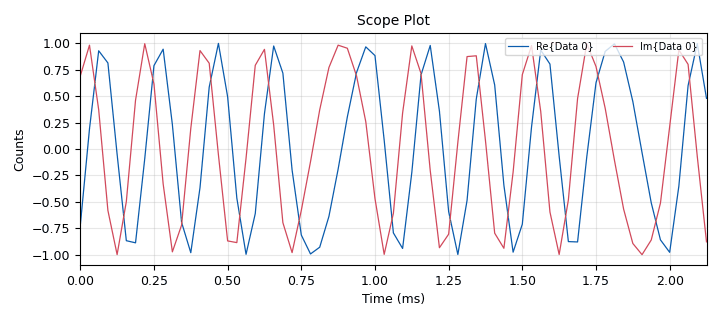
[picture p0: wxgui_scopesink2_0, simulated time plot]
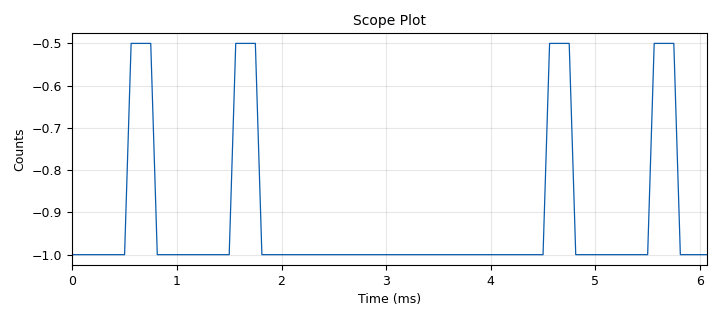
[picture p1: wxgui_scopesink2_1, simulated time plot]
<?xml version='1.0' encoding='utf-8'?>
<?grc format='1' created='3.7.11'?>
<flow_graph>
<block>
<key>options</key>
<param><key>id</key><value>top_block</value></param>
<param><key>generate_options</key><value>wx_gui</value></param>
</block>
<block>
<key>variable_constellation_rect</key>
<param><key>id</key><value>qpsk_const</value></param>
<param><key>const_points</key><value>[-1-1j, -1+1j, 1+1j, 1-1j]</value></param>
<param><key>imag_sect</key><value>2</value></param>
<param><key>real_sect</key><value>2</value></param>
<param><key>rot_sym</key><value>4</value></param>
<param><key>sym_map</key><value>[0, 1, 3, 2]</value></param>
<param><key>w_imag_sect</key><value>1</value></param>
<param><key>w_real_sect</key><value>1</value></param>
</block>
<block>
<key>variable</key>
<param><key>id</key><value>samp_rate</value></param>
<param><key>value</key><value>32000</value></param>
</block>
<block>
<key>analog_quadrature_demod_cf</key>
<param><key>id</key><value>analog_quadrature_demod_cf_0</value></param>
<param><key>gain</key><value>1</value></param>
</block>
<block>
<key>analog_random_source_x</key>
<param><key>id</key><value>analog_random_source_x_0</value></param>
<param><key>max</key><value>2</value></param>
<param><key>min</key><value>0</value></param>
<param><key>num_samps</key><value>30</value></param>
<param><key>type</key><value>byte</value></param>
<param><key>repeat</key><value>True</value></param>
</block>
<block>
<key>blocks_throttle</key>
<param><key>id</key><value>blocks_throttle_0</value></param>
<param><key>samples_per_second</key><value>samp_rate</value></param>
<param><key>type</key><value>complex</value></param>
</block>
<block>
<key>digital_gfsk_mod</key>
<param><key>id</key><value>digital_gfsk_mod_0</value></param>
<param><key>bt</key><value>0</value></param>
<param><key>samples_per_symbol</key><value>2</value></param>
<param><key>sensitivity</key><value>1</value></param>
</block>
<block>
<key>wxgui_scopesink2</key>
<param><key>id</key><value>wxgui_scopesink2_0</value></param>
<param><key>ac_couple</key><value>False</value></param>
<param><key>num_inputs</key><value>1</value></param>
<param><key>samp_rate</key><value>samp_rate</value></param>
<param><key>t_scale</key><value>0</value></param>
<param><key>title</key><value>Scope Plot</value></param>
<param><key>trig_mode</key><value>wxgui.TRIG_MODE_AUTO</value></param>
<param><key>type</key><value>complex</value></param>
<param><key>v_offset</key><value>0</value></param>
<param><key>v_scale</key><value>0</value></param>
<param><key>xy_mode</key><value>False</value></param>
<param><key>y_axis_label</key><value>Counts</value></param>
</block>
<block>
<key>wxgui_scopesink2</key>
<param><key>id</key><value>wxgui_scopesink2_1</value></param>
<param><key>ac_couple</key><value>False</value></param>
<param><key>num_inputs</key><value>1</value></param>
<param><key>samp_rate</key><value>samp_rate</value></param>
<param><key>t_scale</key><value>0</value></param>
<param><key>title</key><value>Scope Plot</value></param>
<param><key>trig_mode</key><value>wxgui.TRIG_MODE_AUTO</value></param>
<param><key>type</key><value>float</value></param>
<param><key>v_offset</key><value>0</value></param>
<param><key>v_scale</key><value>0</value></param>
<param><key>xy_mode</key><value>False</value></param>
<param><key>y_axis_label</key><value>Counts</value></param>
</block>
<connection><source_block_id>analog_quadrature_demod_cf_0</source_block_id><sink_block_id>wxgui_scopesink2_1</sink_block_id><source_key>0</source_key><sink_key>0</sink_key></connection>
<connection><source_block_id>analog_random_source_x_0</source_block_id><sink_block_id>digital_gfsk_mod_0</sink_block_id><source_key>0</source_key><sink_key>0</sink_key></connection>
<connection><source_block_id>blocks_throttle_0</source_block_id><sink_block_id>analog_quadrature_demod_cf_0</sink_block_id><source_key>0</source_key><sink_key>0</sink_key></connection>
<connection><source_block_id>blocks_throttle_0</source_block_id><sink_block_id>wxgui_scopesink2_0</sink_block_id><source_key>0</source_key><sink_key>0</sink_key></connection>
<connection><source_block_id>digital_gfsk_mod_0</source_block_id><sink_block_id>blocks_throttle_0</sink_block_id><source_key>0</source_key><sink_key>0</sink_key></connection>
</flow_graph>
